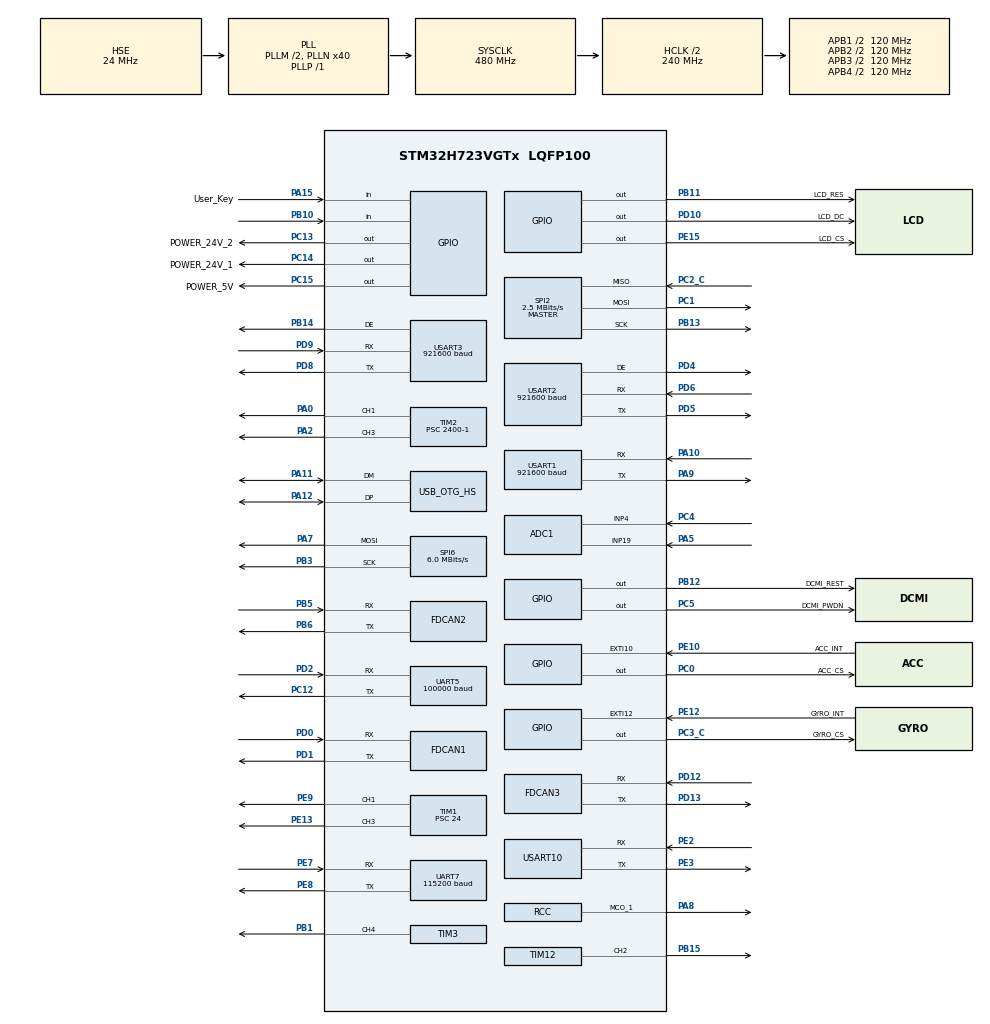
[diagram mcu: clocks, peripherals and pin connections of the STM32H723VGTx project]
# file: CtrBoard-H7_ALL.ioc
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ADC1.Channel-0\#ChannelRegularConversion=ADC_CHANNEL_4
ADC1.Channel-1\#ChannelRegularConversion=ADC_CHANNEL_19
ADC1.ClockPrescaler=ADC_CLOCK_ASYNC_DIV64
ADC1.ContinuousConvMode=ENABLE
ADC1.ConversionDataManagement=ADC_CONVERSIONDATA_DMA_CIRCULAR
ADC1.NbrOfConversion=2
ADC1.NbrOfConversionFlag=1
ADC1.OffsetNumber-0\#ChannelRegularConversion=ADC_OFFSET_NONE
ADC1.OffsetNumber-1\#ChannelRegularConversion=ADC_OFFSET_NONE
ADC1.OffsetSignedSaturation-0\#ChannelRegularConversion=DISABLE
ADC1.OffsetSignedSaturation-1\#ChannelRegularConversion=DISABLE
ADC1.Rank-0\#ChannelRegularConversion=1
ADC1.Rank-1\#ChannelRegularConversion=2
ADC1.SamplingTime-0\#ChannelRegularConversion=ADC_SAMPLETIME_32CYCLES_5
ADC1.SamplingTime-1\#ChannelRegularConversion=ADC_SAMPLETIME_32CYCLES_5
ADC1.master=1
CORTEX_M7.BaseAddress-Cortex_Memory_Protection_Unit_Region0_Settings=0x24000000
CORTEX_M7.CPU_DCache=Disabled
CORTEX_M7.CPU_ICache=Disabled
CORTEX_M7.Enable-Cortex_Memory_Protection_Unit_Region0_Settings=MPU_REGION_ENABLE
CORTEX_M7.IsBufferable-Cortex_Memory_Protection_Unit_Region0_Settings=MPU_ACCESS_BUFFERABLE
CORTEX_M7.IsCacheable-Cortex_Memory_Protection_Unit_Region0_Settings=MPU_ACCESS_CACHEABLE
CORTEX_M7.MPU_Control=MPU_PRIVILEGED_DEFAULT
CORTEX_M7.Size-Cortex_Memory_Protection_Unit_Region0_Settings=MPU_REGION_SIZE_512B
CORTEX_M7.TypeExtField-Cortex_Memory_Protection_Unit_Region0_Settings=MPU_TEX_LEVEL1
CORTEX_M7.default_mode_Activation=1
Dma.ADC1.0.Direction=DMA_PERIPH_TO_MEMORY
Dma.ADC1.0.EventEnable=DISABLE
Dma.ADC1.0.FIFOMode=DMA_FIFOMODE_DISABLE
Dma.ADC1.0.Instance=DMA1_Stream1
Dma.ADC1.0.MemDataAlignment=DMA_MDATAALIGN_HALFWORD
Dma.ADC1.0.MemInc=DMA_MINC_ENABLE
Dma.ADC1.0.Mode=DMA_CIRCULAR
Dma.ADC1.0.PeriphDataAlignment=DMA_PDATAALIGN_HALFWORD
Dma.ADC1.0.PeriphInc=DMA_PINC_DISABLE
Dma.ADC1.0.Polarity=HAL_DMAMUX_REQ_GEN_RISING
Dma.ADC1.0.Priority=DMA_PRIORITY_LOW
Dma.ADC1.0.RequestNumber=1
Dma.ADC1.0.SignalID=NONE
Dma.ADC1.0.SyncEnable=DISABLE
Dma.ADC1.0.SyncPolarity=HAL_DMAMUX_SYNC_NO_EVENT
Dma.ADC1.0.SyncRequestNumber=1
Dma.ADC1.0.SyncSignalID=NONE
Dma.Request0=ADC1
Dma.Request1=UART5_RX
Dma.Request2=USART1_RX
Dma.Request3=USART1_TX
Dma.Request4=USART10_RX
Dma.Request5=UART7_RX
Dma.UART5_RX.1.Direction=DMA_PERIPH_TO_MEMORY
Dma.UART5_RX.1.EventEnable=DISABLE
Dma.UART5_RX.1.FIFOMode=DMA_FIFOMODE_DISABLE
Dma.UART5_RX.1.Instance=DMA1_Stream7
Dma.UART5_RX.1.MemDataAlignment=DMA_MDATAALIGN_BYTE
Dma.UART5_RX.1.MemInc=DMA_MINC_ENABLE
Dma.UART5_RX.1.Mode=DMA_NORMAL
Dma.UART5_RX.1.PeriphDataAlignment=DMA_PDATAALIGN_BYTE
Dma.UART5_RX.1.PeriphInc=DMA_PINC_DISABLE
Dma.UART5_RX.1.Polarity=HAL_DMAMUX_REQ_GEN_RISING
Dma.UART5_RX.1.Priority=DMA_PRIORITY_VERY_HIGH
Dma.UART5_RX.1.RequestNumber=1
Dma.UART5_RX.1.SignalID=NONE
Dma.UART5_RX.1.SyncEnable=DISABLE
Dma.UART5_RX.1.SyncPolarity=HAL_DMAMUX_SYNC_NO_EVENT
Dma.UART5_RX.1.SyncRequestNumber=1
Dma.UART5_RX.1.SyncSignalID=NONE
Dma.UART7_RX.5.Direction=DMA_PERIPH_TO_MEMORY
Dma.UART7_RX.5.EventEnable=DISABLE
Dma.UART7_RX.5.FIFOMode=DMA_FIFOMODE_DISABLE
Dma.UART7_RX.5.Instance=DMA1_Stream0
Dma.UART7_RX.5.MemDataAlignment=DMA_MDATAALIGN_BYTE
Dma.UART7_RX.5.MemInc=DMA_MINC_ENABLE
Dma.UART7_RX.5.Mode=DMA_NORMAL
Dma.UART7_RX.5.PeriphDataAlignment=DMA_PDATAALIGN_BYTE
Dma.UART7_RX.5.PeriphInc=DMA_PINC_DISABLE
Dma.UART7_RX.5.Polarity=HAL_DMAMUX_REQ_GEN_RISING
Dma.UART7_RX.5.Priority=DMA_PRIORITY_LOW
Dma.UART7_RX.5.RequestNumber=1
Dma.UART7_RX.5.SignalID=NONE
Dma.UART7_RX.5.SyncEnable=DISABLE
Dma.UART7_RX.5.SyncPolarity=HAL_DMAMUX_SYNC_NO_EVENT
Dma.UART7_RX.5.SyncRequestNumber=1
Dma.UART7_RX.5.SyncSignalID=NONE
Dma.USART10_RX.4.Direction=DMA_PERIPH_TO_MEMORY
Dma.USART10_RX.4.EventEnable=DISABLE
Dma.USART10_RX.4.FIFOMode=DMA_FIFOMODE_DISABLE
Dma.USART10_RX.4.Instance=DMA1_Stream6
Dma.USART10_RX.4.MemDataAlignment=DMA_MDATAALIGN_BYTE
Dma.USART10_RX.4.MemInc=DMA_MINC_ENABLE
Dma.USART10_RX.4.Mode=DMA_NORMAL
Dma.USART10_RX.4.PeriphDataAlignment=DMA_PDATAALIGN_BYTE
Dma.USART10_RX.4.PeriphInc=DMA_PINC_DISABLE
Dma.USART10_RX.4.Polarity=HAL_DMAMUX_REQ_GEN_RISING
Dma.USART10_RX.4.Priority=DMA_PRIORITY_LOW
Dma.USART10_RX.4.RequestNumber=1
Dma.USART10_RX.4.SignalID=NONE
Dma.USART10_RX.4.SyncEnable=DISABLE
Dma.USART10_RX.4.SyncPolarity=HAL_DMAMUX_SYNC_NO_EVENT
Dma.USART10_RX.4.SyncRequestNumber=1
Dma.USART10_RX.4.SyncSignalID=NONE
Dma.USART1_RX.2.Direction=DMA_PERIPH_TO_MEMORY
Dma.USART1_RX.2.EventEnable=DISABLE
Dma.USART1_RX.2.FIFOMode=DMA_FIFOMODE_DISABLE
Dma.USART1_RX.2.Instance=DMA1_Stream2
Dma.USART1_RX.2.MemDataAlignment=DMA_MDATAALIGN_BYTE
Dma.USART1_RX.2.MemInc=DMA_MINC_ENABLE
Dma.USART1_RX.2.Mode=DMA_CIRCULAR
Dma.USART1_RX.2.PeriphDataAlignment=DMA_PDATAALIGN_BYTE
Dma.USART1_RX.2.PeriphInc=DMA_PINC_DISABLE
Dma.USART1_RX.2.Polarity=HAL_DMAMUX_REQ_GEN_RISING
Dma.USART1_RX.2.Priority=DMA_PRIORITY_HIGH
Dma.USART1_RX.2.RequestNumber=1
Dma.USART1_RX.2.SignalID=NONE
Dma.USART1_RX.2.SyncEnable=DISABLE
Dma.USART1_RX.2.SyncPolarity=HAL_DMAMUX_SYNC_NO_EVENT
Dma.USART1_RX.2.SyncRequestNumber=1
Dma.USART1_RX.2.SyncSignalID=NONE
Dma.USART1_TX.3.Direction=DMA_MEMORY_TO_PERIPH
Dma.USART1_TX.3.EventEnable=DISABLE
Dma.USART1_TX.3.FIFOMode=DMA_FIFOMODE_DISABLE
Dma.USART1_TX.3.Instance=DMA1_Stream5
Dma.USART1_TX.3.MemDataAlignment=DMA_MDATAALIGN_BYTE
Dma.USART1_TX.3.MemInc=DMA_MINC_ENABLE
Dma.USART1_TX.3.Mode=DMA_NORMAL
Dma.USART1_TX.3.PeriphDataAlignment=DMA_PDATAALIGN_BYTE
Dma.USART1_TX.3.PeriphInc=DMA_PINC_DISABLE
Dma.USART1_TX.3.Polarity=HAL_DMAMUX_REQ_GEN_RISING
Dma.USART1_TX.3.Priority=DMA_PRIORITY_LOW
Dma.USART1_TX.3.RequestNumber=1
Dma.USART1_TX.3.SignalID=NONE
Dma.USART1_TX.3.SyncEnable=DISABLE
Dma.USART1_TX.3.SyncPolarity=HAL_DMAMUX_SYNC_NO_EVENT
Dma.USART1_TX.3.SyncRequestNumber=1
Dma.USART1_TX.3.SyncSignalID=NONE
FDCAN1.AutoRetransmission=ENABLE
FDCAN1.CalculateBaudRateNominal=1000000
FDCAN1.CalculateTimeBitNominal=1000
FDCAN1.CalculateTimeQuantumNominal=50.0
FDCAN1.DataPrescaler=4
FDCAN1.DataSyncJumpWidth=5
FDCAN1.DataTimeSeg1=14
FDCAN1.DataTimeSeg2=5
FDCAN1.ExtFiltersNbr=0
FDCAN1.FrameFormat=FDCAN_FRAME_CLASSIC
FDCAN1.NominalPrescaler=4
FDCAN1.NominalSyncJumpWidth=2
FDCAN1.NominalTimeSeg1=14
FDCAN1.NominalTimeSeg2=5
FDCAN1.ProtocolException=ENABLE
FDCAN1.RxBuffersNbr=2
FDCAN1.RxFifo0ElmtSize=FDCAN_DATA_BYTES_8
FDCAN1.RxFifo0ElmtsNbr=0
FDCAN1.RxFifo1ElmtSize=FDCAN_DATA_BYTES_8
FDCAN1.RxFifo1ElmtsNbr=0
FDCAN1.StdFiltersNbr=1
FDCAN1.TxBuffersNbr=10
FDCAN1.TxElmtSize=FDCAN_DATA_BYTES_8
FDCAN1.TxEventsNbr=10
FDCAN1.TxFifoQueueElmtsNbr=10
FDCAN2.CalculateBaudRateNominal=1000000
FDCAN2.CalculateTimeBitNominal=1000
FDCAN2.CalculateTimeQuantumNominal=50.0
FDCAN2.DataPrescaler=4
FDCAN2.DataSyncJumpWidth=5
FDCAN2.DataTimeSeg1=14
FDCAN2.DataTimeSeg2=5
FDCAN2.ExtFiltersNbr=0
FDCAN2.MessageRAMOffset=853
FDCAN2.NominalPrescaler=4
FDCAN2.NominalSyncJumpWidth=5
FDCAN2.NominalTimeSeg1=14
FDCAN2.NominalTimeSeg2=5
FDCAN2.ProtocolException=ENABLE
FDCAN2.RxFifo0ElmtsNbr=0
FDCAN2.RxFifo1ElmtSize=FDCAN_DATA_BYTES_8
FDCAN2.RxFifo1ElmtsNbr=8
FDCAN2.StdFiltersNbr=1
FDCAN2.TxElmtSize=FDCAN_DATA_BYTES_8
FDCAN2.TxFifoQueueElmtsNbr=8
FDCAN3.CalculateBaudRateNominal=1000000
FDCAN3.CalculateTimeBitNominal=1000
FDCAN3.CalculateTimeQuantumNominal=50.0
FDCAN3.DataPrescaler=4
FDCAN3.DataSyncJumpWidth=5
FDCAN3.DataTimeSeg1=14
FDCAN3.DataTimeSeg2=5
FDCAN3.ExtFiltersNbr=0
FDCAN3.MessageRAMOffset=1706
FDCAN3.NominalPrescaler=4
FDCAN3.NominalSyncJumpWidth=5
FDCAN3.NominalTimeSeg1=14
FDCAN3.NominalTimeSeg2=5
FDCAN3.ProtocolException=ENABLE
FDCAN3.RxFifo0ElmtsNbr=8
FDCAN3.StdFiltersNbr=1
FDCAN3.TxFifoQueueElmtsNbr=8
FREERTOS.INCLUDE_eTaskGetState=1
FREERTOS.INCLUDE_uxTaskGetStackHighWaterMark=1
FREERTOS.INCLUDE_vTaskDelayUntil=1
FREERTOS.INCLUDE_xQueueGetMutexHolder=1
FREERTOS.INCLUDE_xTaskGetCurrentTaskHandle=1
FREERTOS.INCLUDE_xTimerPendFunctionCall=1
FREERTOS.Tasks01=defaultTask,0,128,StartDefaultTask,As weak,NULL,Dynamic,NULL,NULL;GimbalTask,0,512,StartGimbalTask,As weak,NULL,Dynamic,NULL,NULL;RobotUITask,0,512,StartRobotUITask,As weak,NULL,Dynamic,NULL,NULL;IMUTask,2,512,StartIMUTask,As weak,NULL,Dynamic,NULL,NULL;MonitorTask,0,256,StartMonitorTask,As weak,NULL,Dynamic,NULL,NULL;K3debugTask,0,256,StartK3debugTask,As weak,NULL,Dynamic,NULL,NULL
FREERTOS.configENABLE_FPU=1
FREERTOS.configUSE_COUNTING_SEMAPHORES=1
FREERTOS.configUSE_RECURSIVE_MUTEXES=1
FREERTOS.configUSE_TIMERS=1
FREERTOS.configUSE_TRACE_FACILITY=1
Mcu.Family=STM32H7
Mcu.Name=STM32H723VGTx
Mcu.Package=LQFP100
NVIC.DMA1_Stream0_IRQn=true\:5\:0\:false\:false\:true\:true\:false\:true\:true
NVIC.DMA1_Stream1_IRQn=true\:5\:0\:false\:false\:true\:true\:false\:true\:true
NVIC.DMA1_Stream2_IRQn=true\:5\:0\:false\:false\:true\:true\:false\:true\:true
NVIC.DMA1_Stream5_IRQn=true\:5\:0\:false\:false\:true\:true\:false\:true\:true
NVIC.DMA1_Stream6_IRQn=true\:5\:0\:false\:false\:true\:true\:false\:true\:true
NVIC.DMA1_Stream7_IRQn=true\:5\:0\:false\:false\:true\:true\:false\:true\:true
NVIC.FDCAN1_IT0_IRQn=true\:5\:0\:false\:false\:true\:true\:true\:true\:true
NVIC.FDCAN1_IT1_IRQn=true\:5\:0\:false\:false\:true\:true\:true\:true\:true
NVIC.FDCAN2_IT0_IRQn=true\:5\:0\:false\:false\:true\:true\:true\:true\:true
NVIC.FDCAN2_IT1_IRQn=true\:5\:0\:false\:false\:true\:true\:true\:true\:true
NVIC.FDCAN3_IT0_IRQn=true\:5\:0\:false\:false\:true\:true\:true\:true\:true
NVIC.FDCAN3_IT1_IRQn=true\:5\:0\:false\:false\:true\:true\:true\:true\:true
NVIC.OTG_HS_IRQn=true\:5\:0\:false\:false\:true\:true\:false\:true\:true
NVIC.PriorityGroup=NVIC_PRIORITYGROUP_4
NVIC.TIM23_IRQn=true\:15\:0\:false\:false\:true\:false\:false\:true\:true
NVIC.TIM7_IRQn=true\:5\:0\:false\:false\:true\:true\:true\:true\:true
NVIC.TimeBase=TIM23_IRQn
NVIC.TimeBaseIP=TIM23
NVIC.UART5_IRQn=true\:5\:0\:false\:false\:true\:true\:true\:true\:true
NVIC.UART7_IRQn=true\:5\:0\:false\:false\:true\:true\:true\:true\:true
NVIC.USART10_IRQn=true\:5\:0\:false\:false\:true\:true\:true\:true\:true
NVIC.USART2_IRQn=true\:5\:0\:true\:false\:true\:false\:true\:true\:true
NVIC.USART3_IRQn=true\:5\:0\:true\:false\:true\:false\:true\:true\:true
PA0.Signal=S_TIM2_CH1_ETR
PA10.Mode=Asynchronous
PA10.Signal=USART1_RX
PA11.Mode=Device_Only_FS
PA11.Signal=USB_OTG_HS_DM
PA12.Mode=Device_Only_FS
PA12.Signal=USB_OTG_HS_DP
PA13(JTMS/SWDIO).Mode=Serial_Wire
PA13(JTMS/SWDIO).Signal=DEBUG_JTMS-SWDIO
PA14(JTCK/SWCLK).Mode=Serial_Wire
PA14(JTCK/SWCLK).Signal=DEBUG_JTCK-SWCLK
PA15(JTDI).GPIO_Label=User_Key
PA15(JTDI).GPIO_PuPd=GPIO_NOPULL
PA15(JTDI).Signal=GPIO_Input
PA2.Signal=S_TIM2_CH3
PA5.Signal=ADCx_INP19
PA7.Mode=TX_Only_Simplex_Unidirect_Master
PA7.Signal=SPI6_MOSI
PA8.Mode=Clock-out-1
PA8.Signal=RCC_MCO_1
PA9.Mode=Asynchronous
PA9.Signal=USART1_TX
PB1.Signal=S_TIM3_CH4
PB10.GPIO_PuPd=GPIO_PULLDOWN
PB10.Signal=GPIO_Input
PB11.GPIO_Label=LCD_RES
PB11.Signal=GPIO_Output
PB12.GPIO_Label=DCMI_REST
PB12.GPIO_PuPd=GPIO_PULLUP
PB12.GPIO_Speed=GPIO_SPEED_FREQ_VERY_HIGH
PB12.PinState=GPIO_PIN_SET
PB12.Signal=GPIO_Output
PB13.GPIO_Speed=GPIO_SPEED_FREQ_VERY_HIGH
PB13.Mode=Full_Duplex_Master
PB13.Signal=SPI2_SCK
PB14.Mode=Hardware Flow Control (RS485)
PB14.Signal=USART3_DE
PB15.Signal=S_TIM12_CH2
PB3(JTDO/TRACESWO).Mode=TX_Only_Simplex_Unidirect_Master
PB3(JTDO/TRACESWO).Signal=SPI6_SCK
PB5.Mode=FDCAN_Activate
PB5.Signal=FDCAN2_RX
PB6.Mode=FDCAN_Activate
PB6.Signal=FDCAN2_TX
PC0.GPIO_Label=ACC_CS
PC0.GPIO_Speed=GPIO_SPEED_FREQ_VERY_HIGH
PC0.PinState=GPIO_PIN_SET
PC0.Signal=GPIO_Output
PC1.GPIO_Speed=GPIO_SPEED_FREQ_VERY_HIGH
PC1.Mode=Full_Duplex_Master
PC1.Signal=SPI2_MOSI
PC12.Mode=Asynchronous
PC12.Signal=UART5_TX
PC13.GPIO_Label=POWER_24V_2
PC13.PinState=GPIO_PIN_SET
PC13.Signal=GPIO_Output
PC14-OSC32_IN.GPIO_Label=POWER_24V_1
PC14-OSC32_IN.Signal=GPIO_Output
PC15-OSC32_OUT.GPIO_Label=POWER_5V
PC15-OSC32_OUT.PinState=GPIO_PIN_SET
PC15-OSC32_OUT.Signal=GPIO_Output
PC2_C.GPIO_Speed=GPIO_SPEED_FREQ_VERY_HIGH
PC2_C.Mode=Full_Duplex_Master
PC2_C.Signal=SPI2_MISO
PC3_C.GPIO_Label=GYRO_CS
PC3_C.GPIO_Speed=GPIO_SPEED_FREQ_VERY_HIGH
PC3_C.PinState=GPIO_PIN_SET
PC3_C.Signal=GPIO_Output
PC4.Signal=ADCx_INP4
PC5.GPIO_Label=DCMI_PWDN
PC5.GPIO_PuPd=GPIO_NOPULL
PC5.GPIO_Speed=GPIO_SPEED_FREQ_VERY_HIGH
PC5.PinState=GPIO_PIN_SET
PC5.Signal=GPIO_Output
PD0.Mode=FDCAN_Activate
PD0.Signal=FDCAN1_RX
PD1.Mode=FDCAN_Activate
PD1.Signal=FDCAN1_TX
PD10.GPIO_Label=LCD_DC
PD10.Signal=GPIO_Output
PD12.Mode=FDCAN_Activate
PD12.Signal=FDCAN3_RX
PD13.Mode=FDCAN_Activate
PD13.Signal=FDCAN3_TX
PD2.GPIO_PuPd=GPIO_PULLUP
PD2.GPIO_Speed=GPIO_SPEED_FREQ_HIGH
PD2.Mode=Asynchronous
PD2.Signal=UART5_RX
PD4.Mode=Hardware Flow Control (RS485)
PD4.Signal=USART2_DE
PD5.Mode=Asynchronous
PD5.Signal=USART2_TX
PD6.Mode=Asynchronous
PD6.Signal=USART2_RX
PD8.Mode=Asynchronous
PD8.Signal=USART3_TX
PD9.Mode=Asynchronous
PD9.Signal=USART3_RX
PE10.GPIO_Label=ACC_INT
PE10.Signal=GPXTI10
PE12.GPIO_Label=GYRO_INT
PE12.Signal=GPXTI12
PE13.Signal=S_TIM1_CH3
PE15.GPIO_Label=LCD_CS
PE15.Signal=GPIO_Output
PE2.Mode=Asynchronous
PE2.Signal=USART10_RX
PE3.Mode=Asynchronous
PE3.Signal=USART10_TX
PE7.Mode=Asynchronous
PE7.Signal=UART7_RX
PE8.Mode=Asynchronous
PE8.Signal=UART7_TX
PE9.Signal=S_TIM1_CH1
PH0-OSC_IN.Mode=HSE-External-Oscillator
PH0-OSC_IN.Signal=RCC_OSC_IN
PH1-OSC_OUT.Mode=HSE-External-Oscillator
PH1-OSC_OUT.Signal=RCC_OSC_OUT
ProjectManager.HeapSize=0x2000
ProjectManager.StackSize=0x4000
ProjectManager.TargetToolchain=MDK-ARM V5.32
RCC.ADCFreq_Value=96000000
RCC.APB1Freq_Value=120000000
RCC.APB2Freq_Value=120000000
RCC.APB3Freq_Value=120000000
RCC.APB4Freq_Value=120000000
RCC.CortexFreq_Value=480000000
RCC.D1PPRE=RCC_APB3_DIV2
RCC.D2PPRE1=RCC_APB1_DIV2
RCC.D2PPRE2=RCC_APB2_DIV2
RCC.D3PPRE=RCC_APB4_DIV2
RCC.DIVM1=2
RCC.DIVM2=2
RCC.DIVN1=40
RCC.DIVN2=16
RCC.DIVP1=1
RCC.DIVQ1=6
RCC.HCLKFreq_Value=240000000
RCC.HPRE=RCC_HCLK_DIV2
RCC.HSE_VALUE=24000000
RCC.PLL1_VCO_SEL-AdvancedSettings=RCC_PLL1VCOWIDE
RCC.PLL2FRACN=0
RCC.PLL2_VCI_Range-AdvancedSettings=RCC_PLL2VCIRANGE_0
RCC.PLL2_VCO_SEL-AdvancedSettings=RCC_PLL2VCOWIDE
RCC.PLL3FRACN=0
RCC.PLL3_VCO_SEL-AdvancedSettings=RCC_PLL3VCOMEDIUM
RCC.PLLFRACN=0
RCC.PLLSourceVirtual=RCC_PLLSOURCE_HSE
RCC.SPI6CLockSelection=RCC_SPI6CLKSOURCE_HSE
RCC.SYSCLKFreq_VALUE=480000000
RCC.SYSCLKSource=RCC_SYSCLKSOURCE_PLLCLK
RCC.USBFreq_Value=80000000
SH.ADCx_INP19.0=ADC1_INP19,IN19-Single-Ended
SH.ADCx_INP4.0=ADC1_INP4,IN4-Single-Ended
SH.S_TIM12_CH2.0=TIM12_CH2,PWM Generation2 CH2
SH.S_TIM1_CH1.0=TIM1_CH1,PWM Generation1 CH1
SH.S_TIM1_CH3.0=TIM1_CH3,PWM Generation3 CH3
SH.S_TIM2_CH1_ETR.0=TIM2_CH1,PWM Generation1 CH1
SH.S_TIM2_CH3.0=TIM2_CH3,PWM Generation3 CH3
SH.S_TIM3_CH4.0=TIM3_CH4,PWM Generation4 CH4
SPI2.BaudRatePrescaler=SPI_BAUDRATEPRESCALER_32
SPI2.CLKPhase=SPI_PHASE_2EDGE
SPI2.CLKPolarity=SPI_POLARITY_HIGH
SPI2.CalculateBaudRate=2.5 MBits/s
SPI2.DataSize=SPI_DATASIZE_8BIT
SPI2.Direction=SPI_DIRECTION_2LINES
SPI2.Mode=SPI_MODE_MASTER
SPI2.VirtualType=VM_MASTER
SPI6.BaudRatePrescaler=SPI_BAUDRATEPRESCALER_4
SPI6.CLKPhase=SPI_PHASE_2EDGE
SPI6.CalculateBaudRate=6.0 MBits/s
SPI6.DataSize=SPI_DATASIZE_8BIT
SPI6.Direction=SPI_DIRECTION_2LINES_TXONLY
SPI6.Mode=SPI_MODE_MASTER
SPI6.VirtualType=VM_MASTER
TIM1.Channel-PWM\ Generation1\ CH1=TIM_CHANNEL_1
TIM1.Channel-PWM\ Generation3\ CH3=TIM_CHANNEL_3
TIM1.Period=10000
TIM1.Prescaler=24
TIM1.Pulse-PWM\ Generation1\ CH1=5000
TIM1.Pulse-PWM\ Generation3\ CH3=5000
TIM12.Channel-PWM\ Generation2\ CH2=TIM_CHANNEL_2
TIM12.Period=2000-1
TIM12.Prescaler=25-1
TIM2.Channel-PWM\ Generation1\ CH1=TIM_CHANNEL_1
TIM2.Channel-PWM\ Generation3\ CH3=TIM_CHANNEL_3
TIM2.Period=2000-1
TIM2.Prescaler=2400-1
TIM2.Pulse-PWM\ Generation1\ CH1=5000
TIM2.Pulse-PWM\ Generation3\ CH3=5000
TIM3.AutoReloadPreload=TIM_AUTORELOAD_PRELOAD_ENABLE
TIM3.Channel-PWM\ Generation4\ CH4=TIM_CHANNEL_4
TIM3.Period=10000-1
TIM3.Prescaler=25-1
TIM7.Period=3000
TIM7.Prescaler=250
UART5.BaudRate=100000
UART5.Mode=MODE_RX
UART5.Parity=PARITY_EVEN
UART5.StopBits=UART_STOPBITS_1
UART5.WordLength=WORDLENGTH_9B
UART7.BaudRate=115200
USART1.BaudRate=921600
USART1.VirtualMode-Asynchronous=VM_ASYNC
USART10.VirtualMode=VM_ASYNC
USART2.BaudRate=921600
USART2.VirtualMode-Asynchronous=VM_ASYNC
USART2.VirtualMode-Hardware\ Flow\ Control\ (RS485)=VM_ASYNC
USART3.BaudRate=921600
USART3.VirtualMode-Asynchronous=VM_ASYNC
USART3.VirtualMode-Hardware\ Flow\ Control\ (RS485)=VM_ASYNC
USB_DEVICE.CLASS_NAME_HS=CDC
USB_DEVICE.VirtualMode=Cdc
USB_DEVICE.VirtualModeHS=Cdc_HS
USB_OTG_HS.VirtualMode-Device_Only_FS=Device_Only_FS
VP_FREERTOS_VS_CMSIS_V1.Mode=CMSIS_V1
VP_MEMORYMAP_VS_MEMORYMAP.Mode=CurAppReg
VP_SYS_VS_tim23.Mode=TIM23
VP_TIM7_VS_ClockSourceINT.Mode=Enable_Timer
VP_USB_DEVICE_VS_USB_DEVICE_CDC_HS.Mode=CDC_HS
board=custom

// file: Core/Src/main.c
/* USER CODE BEGIN Header */
/**
  ******************************************************************************
  * @file           : main.c
  * @brief          : Main program body
  ******************************************************************************
  * @attention
  *
  * Copyright (c) 2024 STMicroelectronics.
  * All rights reserved.
  *
  * This software is licensed under terms that can be found in the LICENSE file
  * in the root directory of this software component.
  * If no LICENSE file comes with this software, it is provided AS-IS.
  *
  ******************************************************************************
  */
/* USER CODE END Header */
#include "main.h"
#include "cmsis_os.h"
#include "adc.h"
#include "dma.h"
#include "fdcan.h"
#include "spi.h"
#include "tim.h"
#include "usart.h"
#include "usb_device.h"
#include "gpio.h"

/* USER CODE BEGIN Includes */
#include "All_Init.h"
#include "WHW_IRQN.h"
/* USER CODE END Includes */

void SystemClock_Config(void);
static void MPU_Config(void);
void MX_FREERTOS_Init(void);

int main(void)
{

  /* MPU Configuration--------------------------------------------------------*/
  MPU_Config();

  /* MCU Configuration--------------------------------------------------------*/

  /* Reset of all peripherals, Initializes the Flash interface and the Systick. */
  HAL_Init();

  /* Configure the system clock */
  SystemClock_Config();

  /* Initialize all configured peripherals */
  MX_GPIO_Init();
  MX_DMA_Init();
  MX_ADC1_Init();
  MX_TIM12_Init();
  MX_SPI6_Init();
  MX_SPI2_Init();
  MX_TIM3_Init();
  MX_USART1_UART_Init();
  MX_USART2_UART_Init();
  MX_USART3_UART_Init();
  MX_UART7_Init();
  MX_USART10_UART_Init();
  MX_FDCAN1_Init();
  MX_FDCAN2_Init();
  MX_FDCAN3_Init();
  MX_TIM1_Init();
  MX_TIM2_Init();
  MX_UART5_Init();
  MX_TIM7_Init();
  /* USER CODE BEGIN 2 */
  Everying_Init();
  /* USER CODE END 2 */

  /* Call init function for freertos objects (in cmsis_os2.c) */
  MX_FREERTOS_Init();

  /* Start scheduler */
  osKernelStart();

  /* We should never get here as control is now taken by the scheduler */

  /* Infinite loop */
  while (1)
  {

  }
}

void SystemClock_Config(void)
{
  RCC_OscInitTypeDef RCC_OscInitStruct = {0};
  RCC_ClkInitTypeDef RCC_ClkInitStruct = {0};

  /** Supply configuration update enable
  */
  HAL_PWREx_ConfigSupply(PWR_LDO_SUPPLY);

  /** Configure the main internal regulator output voltage
  */
  __HAL_PWR_VOLTAGESCALING_CONFIG(PWR_REGULATOR_VOLTAGE_SCALE0);

  while(!__HAL_PWR_GET_FLAG(PWR_FLAG_VOSRDY)) {}

  /** Initializes the RCC Oscillators according to the specified parameters
  * in the RCC_OscInitTypeDef structure.
  */
  RCC_OscInitStruct.OscillatorType = RCC_OSCILLATORTYPE_HSI|RCC_OSCILLATORTYPE_HSE;
  RCC_OscInitStruct.HSEState = RCC_HSE_ON;
  RCC_OscInitStruct.HSIState = RCC_HSI_DIV1;
  RCC_OscInitStruct.HSICalibrationValue = 64;
  RCC_OscInitStruct.PLL.PLLState = RCC_PLL_ON;
  RCC_OscInitStruct.PLL.PLLSource = RCC_PLLSOURCE_HSE;
  RCC_OscInitStruct.PLL.PLLM = 2;
  RCC_OscInitStruct.PLL.PLLN = 40;
  RCC_OscInitStruct.PLL.PLLP = 1;
  RCC_OscInitStruct.PLL.PLLQ = 6;
  RCC_OscInitStruct.PLL.PLLR = 2;
  RCC_OscInitStruct.PLL.PLLRGE = RCC_PLL1VCIRANGE_3;
  RCC_OscInitStruct.PLL.PLLVCOSEL = RCC_PLL1VCOWIDE;
  RCC_OscInitStruct.PLL.PLLFRACN = 0;
  if (HAL_RCC_OscConfig(&RCC_OscInitStruct) != HAL_OK)
  {
    Error_Handler();
  }

  /** Initializes the CPU, AHB and APB buses clocks
  */
  RCC_ClkInitStruct.ClockType = RCC_CLOCKTYPE_HCLK|RCC_CLOCKTYPE_SYSCLK
                              |RCC_CLOCKTYPE_PCLK1|RCC_CLOCKTYPE_PCLK2
                              |RCC_CLOCKTYPE_D3PCLK1|RCC_CLOCKTYPE_D1PCLK1;
  RCC_ClkInitStruct.SYSCLKSource = RCC_SYSCLKSOURCE_PLLCLK;
  RCC_ClkInitStruct.SYSCLKDivider = RCC_SYSCLK_DIV1;
  RCC_ClkInitStruct.AHBCLKDivider = RCC_HCLK_DIV2;
  RCC_ClkInitStruct.APB3CLKDivider = RCC_APB3_DIV2;
  RCC_ClkInitStruct.APB1CLKDivider = RCC_APB1_DIV2;
  RCC_ClkInitStruct.APB2CLKDivider = RCC_APB2_DIV2;
  RCC_ClkInitStruct.APB4CLKDivider = RCC_APB4_DIV2;

  if (HAL_RCC_ClockConfig(&RCC_ClkInitStruct, FLASH_LATENCY_3) != HAL_OK)
  {
    Error_Handler();
  }
  HAL_RCC_MCOConfig(RCC_MCO1, RCC_MCO1SOURCE_HSI, RCC_MCODIV_1);
}

 /* MPU Configuration */

void MPU_Config(void)
{
  MPU_Region_InitTypeDef MPU_InitStruct = {0};

  /* Disables the MPU */
  HAL_MPU_Disable();

  /** Initializes and configures the Region and the memory to be protected
  */
  MPU_InitStruct.Enable = MPU_REGION_ENABLE;
  MPU_InitStruct.Number = MPU_REGION_NUMBER0;
  MPU_InitStruct.BaseAddress = 0x0;
  MPU_InitStruct.Size = MPU_REGION_SIZE_4GB;
  MPU_InitStruct.SubRegionDisable = 0x87;
  MPU_InitStruct.TypeExtField = MPU_TEX_LEVEL0;
  MPU_InitStruct.AccessPermission = MPU_REGION_NO_ACCESS;
  MPU_InitStruct.DisableExec = MPU_INSTRUCTION_ACCESS_DISABLE;
  MPU_InitStruct.IsShareable = MPU_ACCESS_SHAREABLE;
  MPU_InitStruct.IsCacheable = MPU_ACCESS_NOT_CACHEABLE;
  MPU_InitStruct.IsBufferable = MPU_ACCESS_NOT_BUFFERABLE;

  HAL_MPU_ConfigRegion(&MPU_InitStruct);
  /* Enables the MPU */
  HAL_MPU_Enable(MPU_PRIVILEGED_DEFAULT);

}

void HAL_TIM_PeriodElapsedCallback(TIM_HandleTypeDef *htim)
{
  /* USER CODE BEGIN Callback 0 */
	USER_TIM_IRQHandler(htim);
  /* USER CODE END Callback 0 */
  if (htim->Instance == TIM23) {
    HAL_IncTick();
  }
}

void Error_Handler(void)
{
  /* USER CODE BEGIN Error_Handler_Debug */
  /* User can add his own implementation to report the HAL error return state */
  __disable_irq();
	__NVIC_SystemReset();
  while (1)
  {
		if(Monitor_FDCAN(&hfdcan1))
		{
			RGB_Ctrl_Count(0 ,1);
		}
		if(Monitor_FDCAN(&hfdcan2))
		{
			RGB_Ctrl_Count(0 ,2);
		}
		if(Monitor_FDCAN(&hfdcan3))
		{
			RGB_Ctrl_Count(0 ,3);
		}
  }
  /* USER CODE END Error_Handler_Debug */
}

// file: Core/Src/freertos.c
/* USER CODE BEGIN Header */
/**
  ******************************************************************************
  * File Name          : freertos.c
  * Description        : Code for freertos applications
  ******************************************************************************
  * @attention
  *
  * Copyright (c) 2024 STMicroelectronics.
  * All rights reserved.
  *
  * This software is licensed under terms that can be found in the LICENSE file
  * in the root directory of this software component.
  * If no LICENSE file comes with this software, it is provided AS-IS.
  *
  ******************************************************************************
  */
/* USER CODE END Header */

#include "FreeRTOS.h"
#include "task.h"
#include "main.h"
#include "cmsis_os.h"

/* USER CODE BEGIN Includes */
#include "DM_test.h"

/* USER CODE END Includes */

/* USER CODE BEGIN Variables */
osThreadId J2IdentifyTaskHandle;

/* USER CODE END Variables */
osThreadId defaultTaskHandle;
osThreadId GimbalTaskHandle;
osThreadId RobotUITaskHandle;
osThreadId IMUTaskHandle;
osThreadId MonitorTaskHandle;
osThreadId K3debugTaskHandle;

void StartDefaultTask(void const * argument);
void StartGimbalTask(void const * argument);
void StartRobotUITask(void const * argument);
void StartIMUTask(void const * argument);
void StartMonitorTask(void const * argument);
void StartK3debugTask(void const * argument);

extern void MX_USB_DEVICE_Init(void);
void MX_FREERTOS_Init(void); /* (MISRA C 2004 rule 8.1) */

/* GetIdleTaskMemory prototype (linked to static allocation support) */
void vApplicationGetIdleTaskMemory( StaticTask_t **ppxIdleTaskTCBBuffer, StackType_t **ppxIdleTaskStackBuffer, uint32_t *pulIdleTaskStackSize );

/* GetTimerTaskMemory prototype (linked to static allocation support) */
void vApplicationGetTimerTaskMemory( StaticTask_t **ppxTimerTaskTCBBuffer, StackType_t **ppxTimerTaskStackBuffer, uint32_t *pulTimerTaskStackSize );

/* USER CODE BEGIN GET_IDLE_TASK_MEMORY */
static StaticTask_t xIdleTaskTCBBuffer;
static StackType_t xIdleStack[configMINIMAL_STACK_SIZE];

void vApplicationGetIdleTaskMemory( StaticTask_t **ppxIdleTaskTCBBuffer, StackType_t **ppxIdleTaskStackBuffer, uint32_t *pulIdleTaskStackSize )
{
  *ppxIdleTaskTCBBuffer = &xIdleTaskTCBBuffer;
  *ppxIdleTaskStackBuffer = &xIdleStack[0];
  *pulIdleTaskStackSize = configMINIMAL_STACK_SIZE;
  /* place for user code */
}
/* USER CODE END GET_IDLE_TASK_MEMORY */

/* USER CODE BEGIN GET_TIMER_TASK_MEMORY */
static StaticTask_t xTimerTaskTCBBuffer;
static StackType_t xTimerStack[configTIMER_TASK_STACK_DEPTH];

void vApplicationGetTimerTaskMemory( StaticTask_t **ppxTimerTaskTCBBuffer, StackType_t **ppxTimerTaskStackBuffer, uint32_t *pulTimerTaskStackSize )
{
  *ppxTimerTaskTCBBuffer = &xTimerTaskTCBBuffer;
  *ppxTimerTaskStackBuffer = &xTimerStack[0];
  *pulTimerTaskStackSize = configTIMER_TASK_STACK_DEPTH;
  /* place for user code */
}
/* USER CODE END GET_TIMER_TASK_MEMORY */

void MX_FREERTOS_Init(void) {

  /* Create the thread(s) */
  /* definition and creation of defaultTask */
  osThreadDef(defaultTask, StartDefaultTask, osPriorityNormal, 0, 128);
  defaultTaskHandle = osThreadCreate(osThread(defaultTask), NULL);

  /* definition and creation of GimbalTask */
  osThreadDef(GimbalTask, StartGimbalTask, osPriorityNormal, 0, 512);
  GimbalTaskHandle = osThreadCreate(osThread(GimbalTask), NULL);

  /* definition and creation of RobotUITask */
  osThreadDef(RobotUITask, StartRobotUITask, osPriorityNormal, 0, 512);
  RobotUITaskHandle = osThreadCreate(osThread(RobotUITask), NULL);

  /* definition and creation of IMUTask */
  osThreadDef(IMUTask, StartIMUTask, osPriorityHigh, 0, 512);
  IMUTaskHandle = osThreadCreate(osThread(IMUTask), NULL);

  /* definition and creation of MonitorTask */
  osThreadDef(MonitorTask, StartMonitorTask, osPriorityNormal, 0, 256);
  MonitorTaskHandle = osThreadCreate(osThread(MonitorTask), NULL);

  /* definition and creation of K3debugTask */
  osThreadDef(K3debugTask, StartK3debugTask, osPriorityNormal, 0, 256);
  K3debugTaskHandle = osThreadCreate(osThread(K3debugTask), NULL);

  /* USER CODE BEGIN RTOS_THREADS */
  osThreadDef(J2IdentifyTask, StartJ2IdentifyTask, osPriorityNormal, 0, 512);
  J2IdentifyTaskHandle = osThreadCreate(osThread(J2IdentifyTask), NULL);
  /* add threads, ... */
  /* USER CODE END RTOS_THREADS */

}

__weak void StartDefaultTask(void const * argument)
{
  /* init code for USB_DEVICE */
  MX_USB_DEVICE_Init();
  for(;;)
  {
    osDelay(1);
  }
}

__weak void StartGimbalTask(void const * argument)
{
  for(;;)
  {
    osDelay(1);
  }
}

__weak void StartRobotUITask(void const * argument)
{
  for(;;)
  {
    osDelay(1);
  }
}

__weak void StartIMUTask(void const * argument)
{
  for(;;)
  {
    osDelay(1);
  }
}

__weak void StartMonitorTask(void const * argument)
{
  for(;;)
  {
    osDelay(1);
  }
}

__weak void StartK3debugTask(void const * argument)
{
  for(;;)
  {
    osDelay(1);
  }
}
